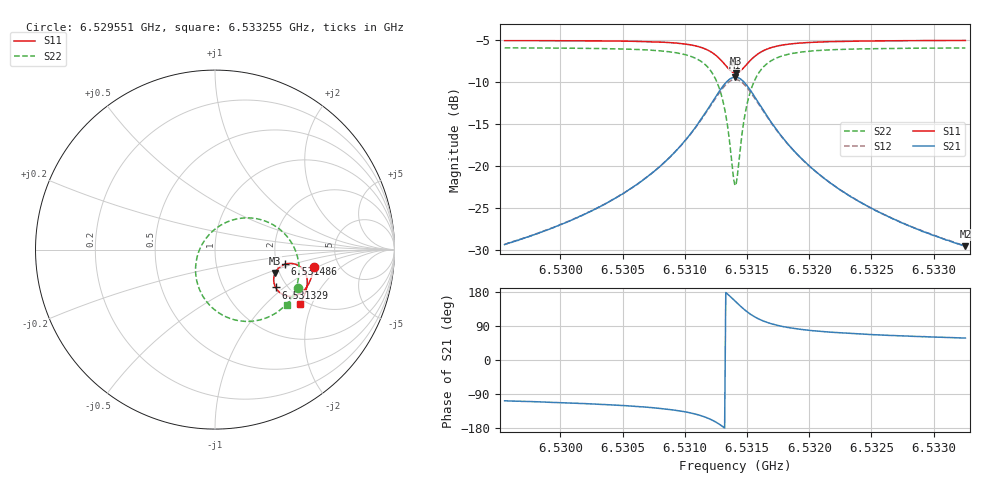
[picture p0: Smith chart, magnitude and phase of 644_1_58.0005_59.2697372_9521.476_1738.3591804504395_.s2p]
#  HZ  S  RI  R  50.00
! Rohde & Schwarz Vector Network Analyzer
! Rohde-Schwarz,ZNB20-2Port,1311601062101988,3.16
! Created: UTC 3/21/2024, 1:19:10 AM
! freq[Hz]  re:S11  im:S11  re:S21  im:S21  re:S12  im:S12  re:S22  im:S22
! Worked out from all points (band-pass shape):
!   401 points, 6.529551 GHz to 6.533255 GHz, reference 50 ohm
!   highest |S21| = -9.37 dB at 6.531403 GHz (marker M1); lowest = -29.5 dB at 6.533255 GHz (marker M2)
!   |S21| within 3 dB of the highest: 6.531219 GHz to 6.531589 GHz (370.4 kHz wide, 0.00567 % of centre)
!   lowest |S11| = -8.9 dB at 6.531412 GHz (marker M3), VSWR 2.12, Z = 94.9 - j28.4 ohm
!   |S11| at or under -10 dB: nowhere
!   |S22| runs from -22.3 to -5.9 dB; largest |S21 - S12| = 0.014
!   S11 on the Smith chart (normalised r, x): 6.529551 GHz: 3.26, -0.93; 6.531329 GHz: 1.74, -0.87; 6.531486 GHz: 2.21, -0.43; 6.533255 GHz: 1.84, -1.64
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6.5295508e9  0.5518 -0.0976  -0.0104 -0.0327  -0.0111 -0.0325  0.4597 -0.215
6.5301713e9  0.5387 -0.1502  -0.0214 -0.0462  -0.0226 -0.046  0.4238 -0.2736
6.5305139e9  0.5255 -0.1832  -0.0354 -0.0601  -0.0369 -0.0592  0.3875 -0.3149
6.5307918e9  0.5064 -0.2147  -0.0602 -0.0785  -0.0625 -0.0766  0.3318 -0.3579
6.5310047e9  0.4762 -0.2431  -0.1047 -0.0978  -0.1079 -0.094  0.2424 -0.3936
6.5311714e9  0.4237 -0.2603  -0.1867 -0.1002  -0.1886 -0.0922  0.0944 -0.3869
6.531264e9  0.3734 -0.248  -0.2638 -0.0622  -0.2612 -0.0511  -0.0313 -0.3079
6.5313011e9  0.3516 -0.2306  -0.2958 -0.0261  -0.2897 -0.0146  -0.078 -0.241
6.5313289e9  0.3376 -0.2109  -0.3147 0.0114  -0.3058 0.0221  -0.1015 -0.1749
6.5313844e9  0.3275 -0.158  -0.3206 0.107  -0.3076 0.1123  -0.0927 -0.0174
6.5314029e9  0.3316 -0.1392  -0.3098 0.1398  -0.2967 0.1427  -0.0691 0.034
6.5314122e9  0.3353 -0.1302  -0.3021 0.1552  -0.2889 0.157  -0.0536 0.0577
6.5314307e9  0.3451 -0.1136  -0.2824 0.1834  -0.2699 0.1829  -0.0164 0.0997
6.5314493e9  0.3578 -0.0998  -0.2582 0.2065  -0.2468 0.2042  0.027 0.133
6.5314863e9  0.3879 -0.082  -0.2035 0.2355  -0.1953 0.231  0.1217 0.1709
6.5315511e9  0.438 -0.0789  -0.1163 0.2401  -0.1123 0.2359  0.2675 0.1631
6.5316437e9  0.4825 -0.1024  -0.0408 0.2042  -0.039 0.202  0.3893 0.0867
6.5317826e9  0.5079 -0.1419  0.00354 0.1494  0.00478 0.1485  0.4543 -0.0221
6.5320234e9  0.5139 -0.1892  0.0211 0.0948  0.0222 0.0946  0.4681 -0.1331
6.5323197e9  0.5073 -0.227  0.0227 0.063  0.0238 0.0628  0.4548 -0.2047
6.5326439e9  0.496 -0.2583  0.0212 0.0453  0.0219 0.0449  0.4359 -0.252
6.533255e9  0.4714 -0.3056  0.0178 0.0284  0.0184 0.0281  0.4011 -0.3098
